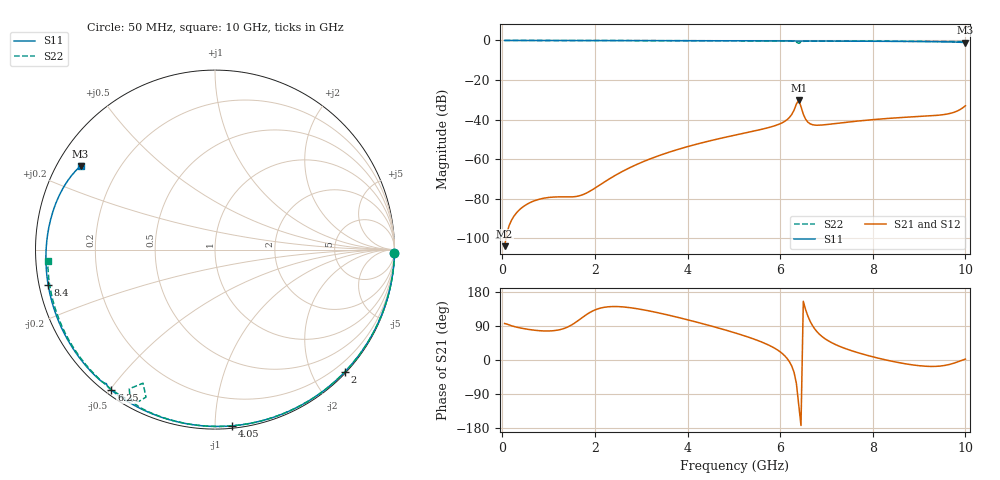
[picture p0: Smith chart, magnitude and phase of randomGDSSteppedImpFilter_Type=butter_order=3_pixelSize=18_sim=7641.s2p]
! freq	dB(S11)	phase(S11)	dB(S12)	phase(S12)
!  dB(S21)	phase(S21)	dB(S22)	phase(S22)
!S-par simulation data
#  GHz  S  DB  R 50
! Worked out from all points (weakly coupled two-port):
!   200 points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, 50 MHz to 10 GHz, reference 50 ohm
!   highest |S21| = -30.14 dB at 6.4 GHz (marker M1); lowest = -103.9 dB at 50 MHz (marker M2)
!   lowest |S11| = -1.1 dB at 10 GHz (marker M3), VSWR 15.99, Z = 3.38 + j14.2 ohm
!   |S11| at or under -10 dB: nowhere
!   |S22| runs from -1.5 to 0.0 dB; largest |S21 - S12| = 0
!   S11 on the Smith chart (normalised r, x): 50 MHz: open; 2 GHz: 0.02, -2.53; 4.05 GHz: 0.01, -1.10; 6.25 GHz: 0.02, -0.51; 8.4 GHz: 0.03, -0.10; 10 GHz: 0.07, +0.28
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0.05  -0.00 -1.1  -103.95 96.2  -103.95 96.2  -0.00 -1.0
0.8  -0.02 -17.5  -80.21 77.4  -80.21 77.4  -0.02 -16.4
1.75  -0.05 -37.9  -77.82 114.1  -77.82 114.1  -0.04 -35.5
2  -0.05 -43.2  -74.63 132.0  -74.63 132.0  -0.05 -40.4
2.65  -0.07 -56.6  -65.49 139.6  -65.49 139.6  -0.07 -52.9
3.4  -0.09 -71.8  -58.05 123.7  -58.05 123.7  -0.09 -67.0
4.05  -0.12 -84.6  -53.32 104.6  -53.32 104.6  -0.11 -78.7
5.05  -0.16 -103.7  -47.71 70.7  -47.71 70.7  -0.15 -96.2
5.95  -0.21 -120.6  -42.56 25.9  -42.56 25.9  -0.20 -111.7
6.15  -0.23 -124.4  -40.02 4.1  -40.02 4.1  -0.24 -115.7
6.25  -0.24 -126.4  -37.41 -15.9  -37.41 -15.9  -0.32 -118.2
6.35  -0.29 -128.4  -32.15 -61.3  -32.15 -61.3  -0.81 -121.6
6.4  -0.34 -129.0  -30.14 -117.0  -30.14 -117.0  -1.46 -118.3
6.45  -0.30 -129.6  -33.44 -172.8  -33.44 -172.8  -0.84 -115.1
6.55  -0.27 -131.6  -39.80 132.6  -39.80 132.6  -0.36 -118.2
6.7  -0.27 -134.5  -42.59 90.5  -42.59 90.5  -0.28 -121.7
8.35  -0.44 -167.1  -39.36 -1.7  -39.36 -1.7  -0.38 -149.0
8.4  -0.45 -168.2  -39.28 -3.0  -39.28 -3.0  -0.39 -149.8
9.05  -0.55 177.3  -38.35 -15.6  -38.35 -15.6  -0.46 -160.2
9.6  -0.71 162.8  -37.21 -13.3  -37.21 -13.3  -0.53 -169.3
9.8  -0.82 156.4  -35.90 -6.4  -35.90 -6.4  -0.56 -172.7
10  -1.09 148.1  -32.99 2.4  -32.99 2.4  -0.60 -176.1
